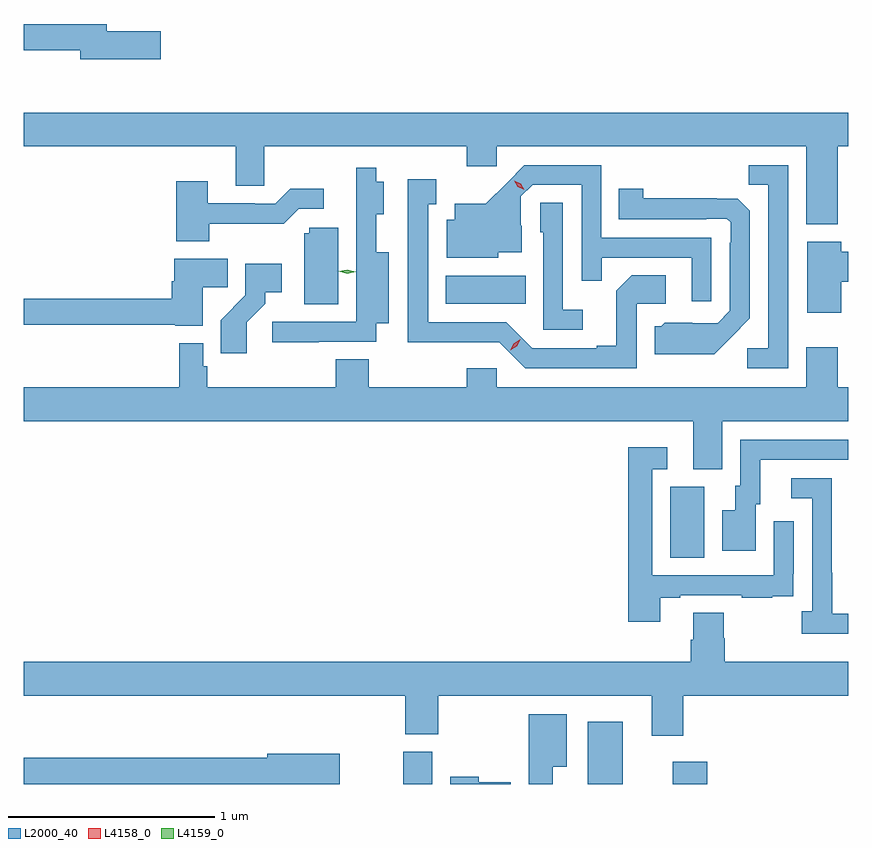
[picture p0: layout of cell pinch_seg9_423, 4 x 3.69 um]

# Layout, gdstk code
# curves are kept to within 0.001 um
import gdstk
lib = gdstk.Library(unit=1e-6, precision=1e-09)
def R(c, l, rs):  # rectangles x0, y0, x1, y1
    for r in rs: c.add(gdstk.rectangle(r[:2], r[2:], *l))
def P(c, l, *ps):  # polygons
    for p in ps: c.add(gdstk.Polygon(p, *l))
L2000_40 = (2000, 40)
L4158_0 = (4158, 0)
L4159_0 = (4159, 0)

pinch_seg9_423 = lib.new_cell('pinch_seg9_423')
R(pinch_seg9_423, L2000_40, [(246.163,1217.303,246.304,1217.46), (247.058,1217.303,247.228,1217.605), (247.472,1217.303,247.64,1217.41), (247.46,1218.4,247.624,1218.744), (246.371,1219.634,246.758,1219.768)])
P(pinch_seg9_423, L2000_40, [(244.987,1220.954),(244.726,1220.954),(244.726,1220.99),(244.323,1220.99),(244.323,1220.862),(244.598,1220.862),(244.598,1220.819),(244.987,1220.819)],
  [(248.273,1220.396),(248.323,1220.396),(248.323,1220.56),(244.323,1220.56),(244.323,1220.396),(245.351,1220.396),(245.351,1220.206),(245.49,1220.206),(245.49,1220.396),(246.472,1220.396),(246.472,1220.301),(246.618,1220.301),(246.618,1220.396),(248.12,1220.396),(248.12,1220.018),(248.273,1220.018)],
  [(248.031,1220.304),(247.84,1220.304),(247.84,1220.209),(247.935,1220.209),(247.935,1219.416),(247.833,1219.416),(247.833,1219.32),(248.031,1219.32)],
  [(247.659,1219.953),(247.125,1219.953),(247.125,1220.304),(246.752,1220.304),(246.565,1220.119),(246.413,1220.119),(246.413,1220.041),(246.374,1220.041),(246.374,1219.856),(246.624,1219.856),(246.624,1219.883),(246.739,1219.883),(246.739,1220.012),(246.735,1220.012),(246.735,1220.154),(246.792,1220.211),(247.029,1220.211),(247.029,1219.744),(247.127,1219.744),(247.127,1219.857),(247.563,1219.857),(247.563,1219.644),(247.659,1219.644)],
  [(245.753,1219.449),(246.034,1219.449),(246.034,1219.538),(246.094,1219.538),(246.094,1219.882),(246.034,1219.882),(246.034,1220.066),(246.07,1220.066),(246.07,1220.224),(246.034,1220.224),(246.034,1220.293),(245.936,1220.293),(245.936,1220.07),(245.937,1220.07),(245.937,1219.778),(245.936,1219.778),(245.936,1219.545),(245.529,1219.545),(245.529,1219.447),(245.753,1219.447)],
  [(247.296,1219.632),(247.438,1219.632),(247.438,1219.772),(247.273,1219.772),(247.197,1219.696),(247.197,1219.429),(247.103,1219.429),(247.103,1219.416),(246.789,1219.416),(246.663,1219.542),(246.286,1219.542),(246.286,1220.115),(246.325,1220.115),(246.325,1220.236),(246.185,1220.236),(246.185,1219.445),(246.63,1219.446),(246.756,1219.32),(247.296,1219.32)],
  [(245.223,1220.022),(245.585,1220.021),(245.658,1220.094),(245.779,1220.094),(245.779,1220.191),(245.617,1220.191),(245.544,1220.118),(245.444,1220.118),(245.444,1220.121),(245.215,1220.121),(245.215,1220.227),(245.063,1220.227),(245.063,1219.937),(245.223,1219.937)],
  [(247.753,1219.469),(247.845,1219.562),(247.845,1220.084),(247.786,1220.143),(247.329,1220.144),(247.329,1220.191),(247.21,1220.191),(247.21,1220.043),(247.634,1220.043),(247.634,1220.046),(247.734,1220.046),(247.752,1220.028),(247.752,1219.928),(247.749,1219.928),(247.749,1219.599),(247.689,1219.539),(247.432,1219.54),(247.416,1219.524),(247.385,1219.524),(247.385,1219.388),(247.673,1219.388)],
  [(247.036,1219.603),(246.939,1219.603),(246.939,1220.123),(246.828,1220.123),(246.828,1219.98),(246.843,1219.98),(246.843,1219.506),(247.036,1219.506)],
  [(245.848,1220.001),(245.709,1220.001),(245.709,1219.974),(245.684,1219.974),(245.684,1219.63),(245.848,1219.63)],
  [(248.29,1219.739),(248.323,1219.739),(248.323,1219.886),(248.29,1219.886),(248.29,1219.933),(248.123,1219.933),(248.123,1219.59),(248.29,1219.59)],
  [(245.191,1219.714),(245.312,1219.714),(245.312,1219.852),(245.054,1219.852),(245.054,1219.742),(245.042,1219.742),(245.042,1219.658),(244.323,1219.658),(244.323,1219.53),(245.058,1219.53),(245.058,1219.526),(245.191,1219.526)],
  [(245.404,1219.543),(245.494,1219.633),(245.494,1219.688),(245.575,1219.688),(245.575,1219.828),(245.397,1219.828),(245.397,1219.673),(245.278,1219.554),(245.278,1219.392),(245.404,1219.392)],
  [(247.711,1219.064),(248.323,1219.064),(248.323,1219.228),(248.273,1219.228),(248.273,1219.423),(248.12,1219.423),(248.12,1219.228),(246.618,1219.228),(246.618,1219.321),(246.472,1219.321),(246.472,1219.228),(245.997,1219.228),(245.997,1219.364),(245.837,1219.364),(245.837,1219.228),(245.213,1219.228),(245.213,1219.329),(245.193,1219.329),(245.193,1219.441),(245.077,1219.441),(245.077,1219.228),(244.323,1219.228),(244.323,1219.064),(247.571,1219.064),(247.571,1218.829),(247.711,1218.829)],
  [(247.873,1218.66),(247.897,1218.66),(247.897,1218.876),(248.323,1218.876),(248.323,1218.972),(247.8,1218.972),(247.8,1218.75),(247.775,1218.75),(247.775,1218.631),(247.712,1218.631),(247.712,1218.435),(247.873,1218.435)],
  [(247.411,1218.207),(247.507,1218.207),(247.507,1218.219),(247.807,1218.219),(247.807,1218.207),(247.955,1218.207),(247.955,1218.213),(248.057,1218.213),(248.057,1218.322),(248.058,1218.322),(248.058,1218.577),(247.962,1218.577),(247.962,1218.315),(247.371,1218.315),(247.371,1218.831),(247.444,1218.831),(247.444,1218.937),(247.255,1218.937),(247.255,1218.09),(247.411,1218.09)],
  [(248.323,1218.129),(248.245,1218.129),(248.245,1218.329),(248.244,1218.329),(248.244,1218.786),(248.046,1218.786),(248.046,1218.69),(248.148,1218.69),(248.148,1218.142),(248.097,1218.142),(248.097,1218.032),(248.323,1218.032)],
  [(247.523,1217.732),(248.323,1217.732),(248.323,1217.896),(247.724,1217.896),(247.724,1218.009),(247.719,1218.009),(247.719,1218.134),(247.571,1218.134),(247.571,1218.002),(247.559,1218.002),(247.559,1217.896),(244.323,1217.896),(244.323,1217.732),(246.173,1217.732),(246.173,1217.545),(246.333,1217.545),(246.333,1217.732),(247.37,1217.732),(247.37,1217.538),(247.523,1217.538)],
  [(246.889,1217.387),(246.958,1217.387),(246.958,1217.641),(246.773,1217.641),(246.773,1217.303),(246.889,1217.303)],
  [(245.857,1217.449),(245.504,1217.449),(245.504,1217.431),(244.323,1217.431),(244.323,1217.303),(245.857,1217.303)],
  [(246.685,1217.311),(246.531,1217.311),(246.531,1217.338),(246.392,1217.338),(246.392,1217.303),(246.685,1217.303)])
P(pinch_seg9_423, L4158_0, [(246.75,1220.186),(246.72,1220.201),(246.702,1220.23),(246.702,1220.23),(246.702,1220.23),(246.733,1220.216),(246.751,1220.187),(246.751,1220.186)],
  [(246.683,1219.408),(246.683,1219.408),(246.7,1219.44),(246.731,1219.46),(246.732,1219.46),(246.732,1219.459),(246.714,1219.427),(246.683,1219.408)])
P(pinch_seg9_423, L4159_0, [(245.892,1219.779),(245.852,1219.79),(245.851,1219.79),(245.852,1219.79),(245.893,1219.799),(245.934,1219.788),(245.934,1219.788),(245.934,1219.788)])

lib.write_gds('pinch_seg9_423.gds')
